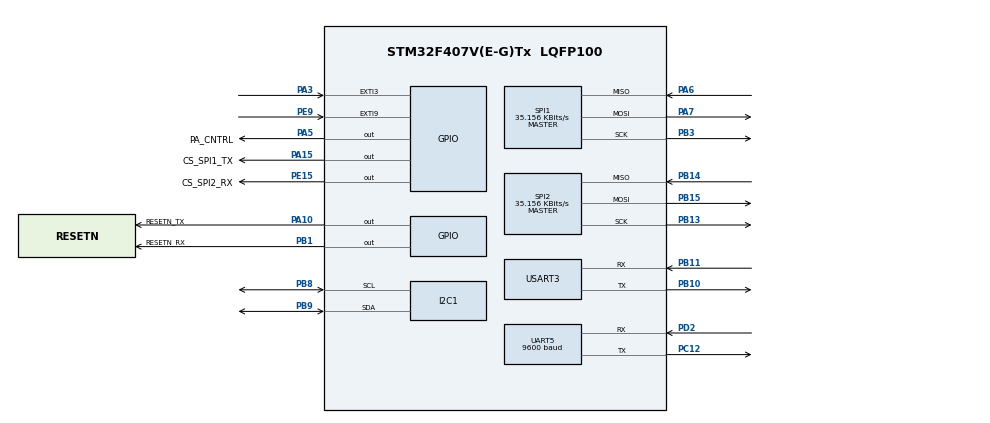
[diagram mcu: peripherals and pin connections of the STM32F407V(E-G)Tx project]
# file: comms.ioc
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Dma.Request0=SPI2_RX
Dma.Request1=SPI1_TX
Dma.Request2=UART5_TX
Dma.SPI1_TX.1.Channel=DMA_CHANNEL_3
Dma.SPI1_TX.1.Direction=DMA_MEMORY_TO_PERIPH
Dma.SPI1_TX.1.FIFOMode=DMA_FIFOMODE_DISABLE
Dma.SPI1_TX.1.Instance=DMA2_Stream3
Dma.SPI1_TX.1.MemDataAlignment=DMA_MDATAALIGN_BYTE
Dma.SPI1_TX.1.MemInc=DMA_MINC_ENABLE
Dma.SPI1_TX.1.Mode=DMA_NORMAL
Dma.SPI1_TX.1.PeriphDataAlignment=DMA_PDATAALIGN_BYTE
Dma.SPI1_TX.1.PeriphInc=DMA_PINC_DISABLE
Dma.SPI1_TX.1.Priority=DMA_PRIORITY_LOW
Dma.SPI2_RX.0.Channel=DMA_CHANNEL_0
Dma.SPI2_RX.0.Direction=DMA_PERIPH_TO_MEMORY
Dma.SPI2_RX.0.FIFOMode=DMA_FIFOMODE_DISABLE
Dma.SPI2_RX.0.Instance=DMA1_Stream3
Dma.SPI2_RX.0.MemDataAlignment=DMA_MDATAALIGN_BYTE
Dma.SPI2_RX.0.MemInc=DMA_MINC_ENABLE
Dma.SPI2_RX.0.Mode=DMA_NORMAL
Dma.SPI2_RX.0.PeriphDataAlignment=DMA_PDATAALIGN_BYTE
Dma.SPI2_RX.0.PeriphInc=DMA_PINC_DISABLE
Dma.SPI2_RX.0.Priority=DMA_PRIORITY_LOW
Dma.UART5_TX.2.Channel=DMA_CHANNEL_4
Dma.UART5_TX.2.Direction=DMA_MEMORY_TO_PERIPH
Dma.UART5_TX.2.FIFOMode=DMA_FIFOMODE_DISABLE
Dma.UART5_TX.2.Instance=DMA1_Stream7
Dma.UART5_TX.2.MemDataAlignment=DMA_MDATAALIGN_BYTE
Dma.UART5_TX.2.MemInc=DMA_MINC_ENABLE
Dma.UART5_TX.2.Mode=DMA_NORMAL
Dma.UART5_TX.2.PeriphDataAlignment=DMA_PDATAALIGN_BYTE
Dma.UART5_TX.2.PeriphInc=DMA_PINC_DISABLE
Dma.UART5_TX.2.Priority=DMA_PRIORITY_LOW
Mcu.Family=STM32F4
Mcu.Name=STM32F407V(E-G)Tx
Mcu.Package=LQFP100
NVIC.DMA1_Stream3_IRQn=true\:0\:0\:false\:false\:true
NVIC.DMA1_Stream7_IRQn=true\:0\:0\:false\:false\:true
NVIC.DMA2_Stream3_IRQn=true\:0\:0\:false\:false\:true
NVIC.EXTI3_IRQn=true\:0\:0\:false\:false\:true
NVIC.EXTI9_5_IRQn=true\:0\:0\:false\:false\:true
NVIC.PriorityGroup=NVIC_PRIORITYGROUP_4
NVIC.UART5_IRQn=true\:0\:0\:false\:false\:true
PA10.GPIO_Label=RESETN_TX
PA10.PinState=GPIO_PIN_SET
PA10.Signal=GPIO_Output
PA15.GPIO_Label=CS_SPI1_TX
PA15.PinState=GPIO_PIN_SET
PA15.Signal=GPIO_Output
PA3.Signal=GPXTI3
PA5.GPIO_Label=PA_CNTRL
PA5.Signal=GPIO_Output
PA6.GPIO_Speed=GPIO_SPEED_FREQ_LOW
PA6.Mode=Full_Duplex_Master
PA6.Signal=SPI1_MISO
PA7.GPIO_Speed=GPIO_SPEED_FREQ_LOW
PA7.Mode=Full_Duplex_Master
PA7.Signal=SPI1_MOSI
PB1.GPIO_Label=RESETN_RX
PB1.PinState=GPIO_PIN_SET
PB1.Signal=GPIO_Output
PB10.Mode=Asynchronous
PB10.Signal=USART3_TX
PB11.Mode=Asynchronous
PB11.Signal=USART3_RX
PB13.GPIO_Speed=GPIO_SPEED_FREQ_LOW
PB13.Mode=Full_Duplex_Master
PB13.Signal=SPI2_SCK
PB14.GPIO_Speed=GPIO_SPEED_FREQ_LOW
PB14.Mode=Full_Duplex_Master
PB14.Signal=SPI2_MISO
PB15.GPIO_Speed=GPIO_SPEED_FREQ_LOW
PB15.Mode=Full_Duplex_Master
PB15.Signal=SPI2_MOSI
PB3.GPIO_Speed=GPIO_SPEED_FREQ_LOW
PB3.Mode=Full_Duplex_Master
PB3.Signal=SPI1_SCK
PB8.Mode=I2C
PB8.Signal=I2C1_SCL
PB9.Mode=I2C
PB9.Signal=I2C1_SDA
PC12.Mode=Asynchronous
PC12.Signal=UART5_TX
PD2.Mode=Asynchronous
PD2.Signal=UART5_RX
PE15.GPIO_Label=CS_SPI2_RX
PE15.PinState=GPIO_PIN_SET
PE15.Signal=GPIO_Output
PE9.Signal=GPXTI9
PH0-OSC_IN.Mode=HSE-External-Oscillator
PH0-OSC_IN.Signal=RCC_OSC_IN
PH1-OSC_OUT.Mode=HSE-External-Oscillator
PH1-OSC_OUT.Signal=RCC_OSC_OUT
ProjectManager.HeapSize=0x200
ProjectManager.StackSize=0x400
ProjectManager.TargetToolchain=EWARM
RCC.48MHZClocksFreq_Value=72000000
RCC.AHBCLKDivider=RCC_SYSCLK_DIV8
RCC.AHBFreq_Value=18000000
RCC.APB1CLKDivider=RCC_HCLK_DIV4
RCC.APB1Freq_Value=4500000
RCC.APB1TimFreq_Value=9000000
RCC.APB2CLKDivider=RCC_HCLK_DIV4
RCC.APB2Freq_Value=4500000
RCC.APB2TimFreq_Value=9000000
RCC.CortexFreq_Value=18000000
RCC.HCLKFreq_Value=18000000
RCC.HSE_VALUE=12000000
RCC.HSI_VALUE=16000000
RCC.LSE_VALUE=32768
RCC.PLLM=8
RCC.PLLSourceVirtual=RCC_PLLSOURCE_HSE
RCC.SYSCLKFreq_VALUE=144000000
RCC.SYSCLKSource=RCC_SYSCLKSOURCE_PLLCLK
RCC.VCOOutputFreq_Value=288000000
SPI1.BaudRatePrescaler=SPI_BAUDRATEPRESCALER_128
SPI1.CalculateBaudRate=35.156 KBits/s
SPI1.Mode=SPI_MODE_MASTER
SPI2.BaudRatePrescaler=SPI_BAUDRATEPRESCALER_128
SPI2.CalculateBaudRate=35.156 KBits/s
SPI2.Mode=SPI_MODE_MASTER
UART5.BaudRate=9600
board=comms

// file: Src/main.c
/**
  ******************************************************************************
  * File Name          : main.c
  * Description        : Main program body
  ******************************************************************************
  *
  * COPYRIGHT(c) 2016 STMicroelectronics
  *
  * Redistribution and use in source and binary forms, with or without modification,
  * are permitted provided that the following conditions are met:
  *   1. Redistributions of source code must retain the above copyright notice,
  *      this list of conditions and the following disclaimer.
  *   2. Redistributions in binary form must reproduce the above copyright notice,
  *      this list of conditions and the following disclaimer in the documentation
  *      and/or other materials provided with the distribution.
  *   3. Neither the name of STMicroelectronics nor the names of its contributors
  *      may be used to endorse or promote products derived from this software
  *      without specific prior written permission.
  *
  * THIS SOFTWARE IS PROVIDED BY THE COPYRIGHT HOLDERS AND CONTRIBUTORS "AS IS"
  * AND ANY EXPRESS OR IMPLIED WARRANTIES, INCLUDING, BUT NOT LIMITED TO, THE
  * IMPLIED WARRANTIES OF MERCHANTABILITY AND FITNESS FOR A PARTICULAR PURPOSE ARE
  * DISCLAIMED. IN NO EVENT SHALL THE COPYRIGHT HOLDER OR CONTRIBUTORS BE LIABLE
  * FOR ANY DIRECT, INDIRECT, INCIDENTAL, SPECIAL, EXEMPLARY, OR CONSEQUENTIAL
  * DAMAGES (INCLUDING, BUT NOT LIMITED TO, PROCUREMENT OF SUBSTITUTE GOODS OR
  * SERVICES; LOSS OF USE, DATA, OR PROFITS; OR BUSINESS INTERRUPTION) HOWEVER
  * CAUSED AND ON ANY THEORY OF LIABILITY, WHETHER IN CONTRACT, STRICT LIABILITY,
  * OR TORT (INCLUDING NEGLIGENCE OR OTHERWISE) ARISING IN ANY WAY OUT OF THE USE
  * OF THIS SOFTWARE, EVEN IF ADVISED OF THE POSSIBILITY OF SUCH DAMAGE.
  *
  ******************************************************************************
  */
#include "stm32f4xx_hal.h"

/* USER CODE BEGIN Includes */
#include "cc_commands.h"
#include "cc_definitions.h"
#include "ax25.h"
#include "cc112x_spi.h"
#include "cc_tx_init.h"
#include <string.h>
#include "comms.h"
#include "pkt_pool.h"
#include "service_utilities.h"
/* USER CODE END Includes */

I2C_HandleTypeDef hi2c1;

SPI_HandleTypeDef hspi1;
SPI_HandleTypeDef hspi2;
DMA_HandleTypeDef hdma_spi1_tx;
DMA_HandleTypeDef hdma_spi2_rx;

UART_HandleTypeDef huart5;
UART_HandleTypeDef huart3;
DMA_HandleTypeDef hdma_uart5_tx;

/* USER CODE BEGIN PV */
/* Private variables ---------------------------------------------------------*/
uint8_t aTxBuffer[500];
uint8_t AX_aRxBuffer[500*8];
uint8_t aRxBuffer[500];
uint8_t pkt_size;

uint8_t tx_buf[2*AX25_MAX_FRAME_LEN];

uint8_t payload[100] = "HELLO WORLD FROM UPSAT";

uint8_t res;
uint8_t resRX;
uint8_t res2[6];
uint8_t res2RX[6];
uint8_t res_fifo[6];
uint8_t res_fifoRX[6];
uint8_t loop = 0;

uint8_t uart_temp[200];
/* USER CODE END PV */

void SystemClock_Config(void);
static void MX_GPIO_Init(void);
static void MX_DMA_Init(void);
static void MX_I2C1_Init(void);
static void MX_SPI1_Init(void);
static void MX_SPI2_Init(void);
static void MX_UART5_Init(void);
static void MX_USART3_UART_Init(void);

/* USER CODE BEGIN PFP */
/* Private function prototypes -----------------------------------------------*/

/* USER CODE END PFP */

int main(void)
{

  /* USER CODE BEGIN 1 */
  int ret = 0;
  /* USER CODE END 1 */

  /* MCU Configuration----------------------------------------------------------*/

  /* Reset of all peripherals, Initializes the Flash interface and the Systick. */
  HAL_Init();

  /* Configure the system clock */
  SystemClock_Config();

  /* Initialize all configured peripherals */
  MX_GPIO_Init();
  MX_DMA_Init();
  MX_I2C1_Init();
  MX_SPI1_Init();
  MX_SPI2_Init();
  MX_UART5_Init();
  MX_USART3_UART_Init();

  /* USER CODE BEGIN 2 */

  /* TX Pins RESETN_TX, PA_CTRL_PIN, CSN1 */
  HAL_GPIO_WritePin (GPIOA, RESETN_TX_Pin, GPIO_PIN_SET); //PA10
  HAL_GPIO_WritePin (PA_CNTRL_GPIO_Port, PA_CNTRL_Pin, GPIO_PIN_SET); //POWER AMP CONTROL
  HAL_GPIO_WritePin (GPIOA, GPIO_PIN_15, GPIO_PIN_SET); //csn1

  /* RX Pins RESETN_RX, CSN2 */

  HAL_GPIO_WritePin (GPIOB, GPIO_PIN_1, GPIO_PIN_SET); //PIN36 2RESETN
  HAL_GPIO_WritePin (GPIOE, GPIO_PIN_15, GPIO_PIN_SET); //PIN36 2CSN

  HAL_Delay (100);

  uint8_t cc_id_tx;
  uint8_t cc_id_rx;

  //fetch tx id
  cc_tx_readReg (0x2f8F, &cc_id_tx);
  sprintf ((char*) uart_temp, "1st hello from TX %d\n", cc_id_tx);
  HAL_UART_Transmit (&huart5, uart_temp, strlen (uart_temp), 10000);

  //fetch rx id
  cc_rx_readReg (0x2f8F, &cc_id_rx);
  sprintf ((char*) uart_temp, "1st hello from RX %d\n", cc_id_rx);
  HAL_UART_Transmit (&huart5, uart_temp, strlen (uart_temp), 10000);

  //Configure TX CC1120
  tx_registerConfig ();

  HAL_Delay (10);
  cc_tx_readReg (0x2f8F, &cc_id_tx);
  sprintf ((char*) uart_temp, "TX CC1120 %d configured\n", cc_id_tx);
  HAL_UART_Transmit (&huart5, uart_temp, strlen (uart_temp), 10000);

  //Configure RX CC1120
  rx_registerConfig ();

  HAL_Delay (10);
  cc_rx_readReg (0x2f8F, &cc_id_rx);
  sprintf ((char*) uart_temp, "RX CC1120 %d configured\n", cc_id_rx);
  HAL_UART_Transmit (&huart5, uart_temp, strlen (uart_temp), 10000);

  //Calibrate TX
  tx_manualCalibration ();

  cc_tx_readReg (0x2f8F, &cc_id_tx);
  sprintf ((char*) uart_temp, "TX CC1120 %d calibrated\n", cc_id_tx);
  HAL_UART_Transmit (&huart5, uart_temp, strlen (uart_temp), 10000);

  //Calibrate RX
  rx_manualCalibration ();

  cc_rx_readReg (0x2f8F, &cc_id_tx);
  sprintf ((char*) uart_temp, "RX CC1120 %d calibrated\n", cc_id_tx);
  HAL_UART_Transmit (&huart5, uart_temp, strlen (uart_temp), 10000);

  HAL_Delay (100);

  cc_rx_cmd (SRX);

  pkt_pool_INIT ();

  sprintf ((char*) uart_temp, "Hello\n");
  HAL_UART_Transmit (&huart5, uart_temp, 6, 10000);

  uint16_t size = 0;

  event_crt_pkt_api (uart_temp, "COMMS STARTED", 666, 666, "", &size, SATR_OK);
  HAL_uart_tx (DBG_APP_ID, (uint8_t *) uart_temp, size);

  /*Uart inits*/
  HAL_UART_Receive_IT (&huart5, comms_data.obc_uart.uart_buf, UART_BUF_SIZE);

  /* USER CODE END 2 */

  /* Infinite loop */
  /* USER CODE BEGIN WHILE */

  while (1) {
    import_pkt (OBC_APP_ID, &comms_data.obc_uart);

    HAL_Delay (100);

    res = cc_tx_readReg (0x2f8F, &cc_id_tx);
    sprintf ((char*) uart_temp, "TX %x, state: %x\n", cc_id_tx, res);
    HAL_UART_Transmit (&huart5, uart_temp, strlen (uart_temp), 10000);

    HAL_Delay (100);
    //resRX = cc_rx_readReg(0x2f8F, &cc_id_rx);
    //sprintf((char*)uart_temp, "RX %x, state: %x\n", cc_id_rx, resRX);
    //HAL_UART_Transmit(&huart5, uart_temp, strlen(uart_temp), 10000);

    HAL_Delay (300);

    /*--------------TX------------*/

    res2[0] = cc_tx_readReg (TXFIRST, &res_fifo[0]); // pointer at first
    res2[1] = cc_tx_readReg (TXLAST, &res_fifo[1]);  // pointer at last
    res2[2] = cc_tx_readReg (NUM_TXBYTES, &res_fifo[2]);  // number of bytes
    res2[3] = cc_tx_readReg (FIFO_NUM_TXBYTES, &res_fifo[3]); //number of free bytes

    sprintf ((char*) uart_temp, "TX FIFO %x,%x %x,%x %x,%x %x,%x\n",
	     res_fifo[0], res2[0], res_fifo[1], res2[1], res_fifo[2], res2[2],
	     res_fifo[3], res2[3]);
    HAL_UART_Transmit (&huart5, uart_temp, strlen (uart_temp), 10000);

    /* Send a dummy message towards earth */
    ret = snprintf ((char *)payload, 100, "HELLO WORLD FROM STM %d\n", loop);
    ret = ax25_send(tx_buf+2, payload, ret);

    if(ret > 0){
      cc_TX_DATA (tx_buf, ret, aRxBuffer);
    }
    else{
      ret = snprintf((char*) uart_temp, 200, "Error at AX.25 encoding");
      HAL_UART_Transmit (&huart5, uart_temp, ret, 10000);
    }
    loop++;

    res2[0] = cc_tx_readReg (TXFIRST, &res_fifo[0]);
    res2[1] = cc_tx_readReg (TXLAST, &res_fifo[1]);
    res2[2] = cc_tx_readReg (NUM_TXBYTES, &res_fifo[2]);
    res2[3] = cc_tx_readReg (FIFO_NUM_TXBYTES, &res_fifo[3]);

    sprintf ((char*) uart_temp, "TX FIFO after %x,%x %x,%x %x,%x %x,%x\n",
	     res_fifo[0], res2[0], res_fifo[1], res2[1], res_fifo[2], res2[2],
	     res_fifo[3], res2[3]);
    HAL_UART_Transmit (&huart5, uart_temp, strlen (uart_temp), 10000);
    HAL_Delay (10);

    HAL_Delay (500);

    /*--------------RX------------*/

    res2RX[0] = cc_rx_readReg (RXFIRST, &res_fifoRX[0]); // pointer at first
    res2RX[1] = cc_rx_readReg (RXLAST, &res_fifoRX[1]);  // pointer at last
    res2RX[2] = cc_rx_readReg (NUM_RXBYTES, &res_fifoRX[2]);  // number of bytes
    res2RX[3] = cc_rx_readReg (FIFO_NUM_RXBYTES, &res_fifoRX[3]); //number of free bytes

    cc_RX_DATA (aTxBuffer, &pkt_size, aRxBuffer);

    res2RX[0] = cc_rx_readReg (RXFIRST, &res_fifoRX[0]);
    res2RX[1] = cc_rx_readReg (RXLAST, &res_fifoRX[1]);
    res2RX[2] = cc_rx_readReg (NUM_RXBYTES, &res_fifoRX[2]);
    res2RX[3] = cc_rx_readReg (FIFO_NUM_RXBYTES, &res_fifoRX[3]);

    sprintf ((char*) uart_temp, "RX FIFO %x,%x %x,%x %x,%x %x,%x\n",
	     res_fifoRX[0], res2RX[0], res_fifoRX[1], res2RX[1], res_fifoRX[2],
	     res2RX[2], res_fifoRX[3], res2RX[3]);
    HAL_UART_Transmit (&huart5, uart_temp, strlen (uart_temp), 10000);

    sprintf (uart_temp, "\n");
    HAL_UART_Transmit (&huart5, uart_temp, strlen (uart_temp), 10000);

    HAL_Delay (100);
    /****************/
    /* USER CODE END WHILE */

  }

}

/** System Clock Configuration
 */
void
SystemClock_Config (void)
{
  RCC_OscInitTypeDef RCC_OscInitStruct;
  RCC_ClkInitTypeDef RCC_ClkInitStruct;

  __HAL_RCC_PWR_CLK_ENABLE();
  __HAL_PWR_VOLTAGESCALING_CONFIG(PWR_REGULATOR_VOLTAGE_SCALE1);

  RCC_OscInitStruct.OscillatorType = RCC_OSCILLATORTYPE_HSE;
  RCC_OscInitStruct.HSEState = RCC_HSE_ON;
  RCC_OscInitStruct.PLL.PLLState = RCC_PLL_ON;
  RCC_OscInitStruct.PLL.PLLSource = RCC_PLLSOURCE_HSE;
  RCC_OscInitStruct.PLL.PLLM = 8;
  RCC_OscInitStruct.PLL.PLLN = 192;
  RCC_OscInitStruct.PLL.PLLP = RCC_PLLP_DIV2;
  RCC_OscInitStruct.PLL.PLLQ = 4;
  HAL_RCC_OscConfig (&RCC_OscInitStruct);

  RCC_ClkInitStruct.ClockType = RCC_CLOCKTYPE_HCLK | RCC_CLOCKTYPE_SYSCLK
      | RCC_CLOCKTYPE_PCLK1 | RCC_CLOCKTYPE_PCLK2;
  RCC_ClkInitStruct.SYSCLKSource = RCC_SYSCLKSOURCE_PLLCLK;
  RCC_ClkInitStruct.AHBCLKDivider = RCC_SYSCLK_DIV8;
  RCC_ClkInitStruct.APB1CLKDivider = RCC_HCLK_DIV4;
  RCC_ClkInitStruct.APB2CLKDivider = RCC_HCLK_DIV4;
  HAL_RCC_ClockConfig (&RCC_ClkInitStruct, FLASH_LATENCY_0);

  HAL_SYSTICK_Config (HAL_RCC_GetHCLKFreq () / 1000);

  HAL_SYSTICK_CLKSourceConfig (SYSTICK_CLKSOURCE_HCLK);

  /* SysTick_IRQn interrupt configuration */
  HAL_NVIC_SetPriority (SysTick_IRQn, 0, 0);
}

/* I2C1 init function */
void
MX_I2C1_Init (void)
{
  hi2c1.Instance = I2C1;
  hi2c1.Init.ClockSpeed = 100000;
  hi2c1.Init.DutyCycle = I2C_DUTYCYCLE_2;
  hi2c1.Init.OwnAddress1 = 0;
  hi2c1.Init.AddressingMode = I2C_ADDRESSINGMODE_7BIT;
  hi2c1.Init.DualAddressMode = I2C_DUALADDRESS_DISABLE;
  hi2c1.Init.OwnAddress2 = 0;
  hi2c1.Init.GeneralCallMode = I2C_GENERALCALL_DISABLE;
  hi2c1.Init.NoStretchMode = I2C_NOSTRETCH_DISABLE;
  HAL_I2C_Init (&hi2c1);
}

/* SPI1 init function */
void
MX_SPI1_Init (void)
{
  hspi1.Instance = SPI1;
  hspi1.Init.Mode = SPI_MODE_MASTER;
  hspi1.Init.Direction = SPI_DIRECTION_2LINES;
  hspi1.Init.DataSize = SPI_DATASIZE_8BIT;
  hspi1.Init.CLKPolarity = SPI_POLARITY_LOW;
  hspi1.Init.CLKPhase = SPI_PHASE_1EDGE;
  hspi1.Init.NSS = SPI_NSS_SOFT;
  hspi1.Init.BaudRatePrescaler = SPI_BAUDRATEPRESCALER_128;
  hspi1.Init.FirstBit = SPI_FIRSTBIT_MSB;
  hspi1.Init.TIMode = SPI_TIMODE_DISABLE;
  hspi1.Init.CRCCalculation = SPI_CRCCALCULATION_DISABLE;
  hspi1.Init.CRCPolynomial = 10;
  HAL_SPI_Init (&hspi1);
}

/* SPI2 init function */
void
MX_SPI2_Init (void)
{
  hspi2.Instance = SPI2;
  hspi2.Init.Mode = SPI_MODE_MASTER;
  hspi2.Init.Direction = SPI_DIRECTION_2LINES;
  hspi2.Init.DataSize = SPI_DATASIZE_8BIT;
  hspi2.Init.CLKPolarity = SPI_POLARITY_LOW;
  hspi2.Init.CLKPhase = SPI_PHASE_1EDGE;
  hspi2.Init.NSS = SPI_NSS_SOFT;
  hspi2.Init.BaudRatePrescaler = SPI_BAUDRATEPRESCALER_128;
  hspi2.Init.FirstBit = SPI_FIRSTBIT_MSB;
  hspi2.Init.TIMode = SPI_TIMODE_DISABLE;
  hspi2.Init.CRCCalculation = SPI_CRCCALCULATION_DISABLE;
  hspi2.Init.CRCPolynomial = 10;
  HAL_SPI_Init (&hspi2);
}

/* UART5 init function */
void
MX_UART5_Init (void)
{
  huart5.Instance = UART5;
  huart5.Init.BaudRate = 9600;
  huart5.Init.WordLength = UART_WORDLENGTH_8B;
  huart5.Init.StopBits = UART_STOPBITS_1;
  huart5.Init.Parity = UART_PARITY_NONE;
  huart5.Init.Mode = UART_MODE_TX_RX;
  huart5.Init.HwFlowCtl = UART_HWCONTROL_NONE;
  huart5.Init.OverSampling = UART_OVERSAMPLING_16;
  HAL_UART_Init (&huart5);
}

/* USART3 init function */
void
MX_USART3_UART_Init (void)
{
  huart3.Instance = USART3;
  huart3.Init.BaudRate = 115200;
  huart3.Init.WordLength = UART_WORDLENGTH_8B;
  huart3.Init.StopBits = UART_STOPBITS_1;
  huart3.Init.Parity = UART_PARITY_NONE;
  huart3.Init.Mode = UART_MODE_TX_RX;
  huart3.Init.HwFlowCtl = UART_HWCONTROL_NONE;
  huart3.Init.OverSampling = UART_OVERSAMPLING_16;
  HAL_UART_Init (&huart3);
}

void
MX_DMA_Init (void)
{
  /* DMA controller clock enable */
  __HAL_RCC_DMA1_CLK_ENABLE();
  __HAL_RCC_DMA2_CLK_ENABLE();

  /* DMA interrupt init */
  /* DMA1_Stream3_IRQn interrupt configuration */
  HAL_NVIC_SetPriority (DMA1_Stream3_IRQn, 0, 0);
  HAL_NVIC_EnableIRQ (DMA1_Stream3_IRQn);
  /* DMA1_Stream7_IRQn interrupt configuration */
  HAL_NVIC_SetPriority (DMA1_Stream7_IRQn, 0, 0);
  HAL_NVIC_EnableIRQ (DMA1_Stream7_IRQn);
  /* DMA2_Stream3_IRQn interrupt configuration */
  HAL_NVIC_SetPriority (DMA2_Stream3_IRQn, 0, 0);
  HAL_NVIC_EnableIRQ (DMA2_Stream3_IRQn);
}

/** Configure pins as
 * Analog
 * Input
 * Output
 * EVENT_OUT
 * EXTI
 */
void
MX_GPIO_Init (void)
{
  GPIO_InitTypeDef GPIO_InitStruct;

  /* GPIO Ports Clock Enable */
  __HAL_RCC_GPIOH_CLK_ENABLE();
  __HAL_RCC_GPIOA_CLK_ENABLE();
  __HAL_RCC_GPIOB_CLK_ENABLE();
  __HAL_RCC_GPIOE_CLK_ENABLE();
  __HAL_RCC_GPIOC_CLK_ENABLE();
  __HAL_RCC_GPIOD_CLK_ENABLE();

  /*Configure GPIO pin : PA3 */
  GPIO_InitStruct.Pin = GPIO_PIN_3;
  GPIO_InitStruct.Mode = GPIO_MODE_IT_RISING;
  GPIO_InitStruct.Pull = GPIO_NOPULL;
  HAL_GPIO_Init (GPIOA, &GPIO_InitStruct);

  /*Configure GPIO pins : PA_CNTRL_Pin RESETN_TX_Pin CS_SPI1_TX_Pin */
  GPIO_InitStruct.Pin = PA_CNTRL_Pin | RESETN_TX_Pin | CS_SPI1_TX_Pin;
  GPIO_InitStruct.Mode = GPIO_MODE_OUTPUT_PP;
  GPIO_InitStruct.Pull = GPIO_NOPULL;
  GPIO_InitStruct.Speed = GPIO_SPEED_FREQ_LOW;
  HAL_GPIO_Init (GPIOA, &GPIO_InitStruct);

  /*Configure GPIO pin : RESETN_RX_Pin */
  GPIO_InitStruct.Pin = RESETN_RX_Pin;
  GPIO_InitStruct.Mode = GPIO_MODE_OUTPUT_PP;
  GPIO_InitStruct.Pull = GPIO_NOPULL;
  GPIO_InitStruct.Speed = GPIO_SPEED_FREQ_LOW;
  HAL_GPIO_Init (RESETN_RX_GPIO_Port, &GPIO_InitStruct);

  /*Configure GPIO pin : PE9 */
  GPIO_InitStruct.Pin = GPIO_PIN_9;
  GPIO_InitStruct.Mode = GPIO_MODE_IT_RISING;
  GPIO_InitStruct.Pull = GPIO_NOPULL;
  HAL_GPIO_Init (GPIOE, &GPIO_InitStruct);

  /*Configure GPIO pin : CS_SPI2_RX_Pin */
  GPIO_InitStruct.Pin = CS_SPI2_RX_Pin;
  GPIO_InitStruct.Mode = GPIO_MODE_OUTPUT_PP;
  GPIO_InitStruct.Pull = GPIO_NOPULL;
  GPIO_InitStruct.Speed = GPIO_SPEED_FREQ_LOW;
  HAL_GPIO_Init (CS_SPI2_RX_GPIO_Port, &GPIO_InitStruct);

  /*Configure GPIO pin Output Level */
  HAL_GPIO_WritePin (PA_CNTRL_GPIO_Port, PA_CNTRL_Pin, GPIO_PIN_RESET);

  /*Configure GPIO pin Output Level */
  HAL_GPIO_WritePin (RESETN_RX_GPIO_Port, RESETN_RX_Pin, GPIO_PIN_SET);

  /*Configure GPIO pin Output Level */
  HAL_GPIO_WritePin (CS_SPI2_RX_GPIO_Port, CS_SPI2_RX_Pin, GPIO_PIN_SET);

  /*Configure GPIO pin Output Level */
  HAL_GPIO_WritePin (GPIOA, RESETN_TX_Pin | CS_SPI1_TX_Pin, GPIO_PIN_SET);

  /* EXTI interrupt init*/
  HAL_NVIC_SetPriority (EXTI3_IRQn, 0, 0);
  HAL_NVIC_EnableIRQ (EXTI3_IRQn);

  HAL_NVIC_SetPriority (EXTI9_5_IRQn, 0, 0);
  HAL_NVIC_EnableIRQ (EXTI9_5_IRQn);
}

/************************ (C) COPYRIGHT STMicroelectronics *****END OF FILE****/
